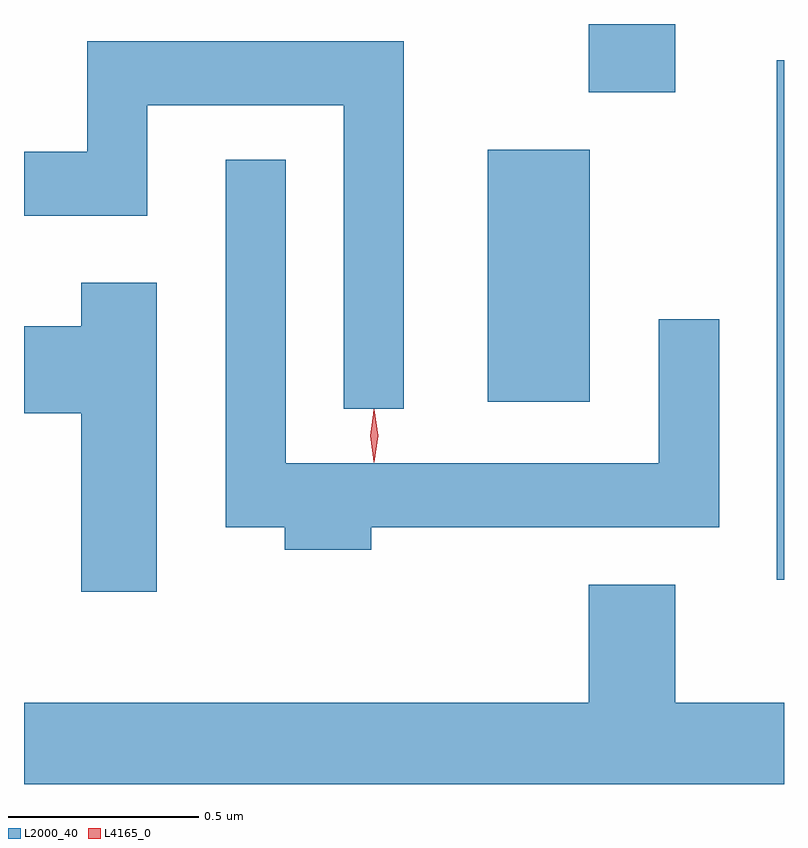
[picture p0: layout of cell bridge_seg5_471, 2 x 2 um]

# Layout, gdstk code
import gdstk
lib = gdstk.Library(unit=1e-6, precision=1e-09)
def R(c, l, rs):  # rectangles x0, y0, x1, y1
    for r in rs: c.add(gdstk.rectangle(r[:2], r[2:], *l))
def P(c, l, *ps):  # polygons
    for p in ps: c.add(gdstk.Polygon(p, *l))
L2000_40 = (2000, 40)
L4165_0 = (4165, 0)

bridge_seg5_471 = lib.new_cell('bridge_seg5_471')
R(bridge_seg5_471, L2000_40, [(392.876,1490.688,392.895,1492.054), (392.116,1491.156,392.384,1491.819), (392.381,1491.971,392.609,1492.15)])
P(bridge_seg5_471, L2000_40, [(391.894,1492.104),(391.061,1492.104),(391.061,1491.814),(390.895,1491.814),(390.895,1491.646),(391.219,1491.646),(391.219,1491.936),(391.736,1491.936),(391.736,1491.138),(391.894,1491.138)],
  [(391.809,1490.826),(392.724,1490.826),(392.724,1491.373),(392.566,1491.373),(392.566,1490.994),(391.584,1490.994),(391.584,1491.793),(391.426,1491.793),(391.426,1490.826),(391.581,1490.826),(391.581,1490.766),(391.809,1490.766)],
  [(391.244,1491.469),(391.046,1491.469),(391.046,1491.354),(390.895,1491.354),(390.895,1491.126),(391.046,1491.126),(391.046,1490.656),(391.244,1490.656)],
  [(392.895,1490.364),(392.609,1490.364),(392.609,1490.674),(392.381,1490.674),(392.381,1490.364),(390.895,1490.364),(390.895,1490.15),(392.895,1490.15)])
P(bridge_seg5_471, L4165_0, [(391.816,1490.997),(391.807,1491.067),(391.816,1491.136),(391.817,1491.136),(391.817,1491.136),(391.827,1491.067),(391.817,1490.997),(391.817,1490.997)],
  [(391.816,1490.999),(391.816,1491),(391.806,1491.066),(391.816,1491.132),(391.816,1491.133),(391.817,1491.132),(391.826,1491.066),(391.817,1491)])

lib.write_gds('bridge_seg5_471.gds')
